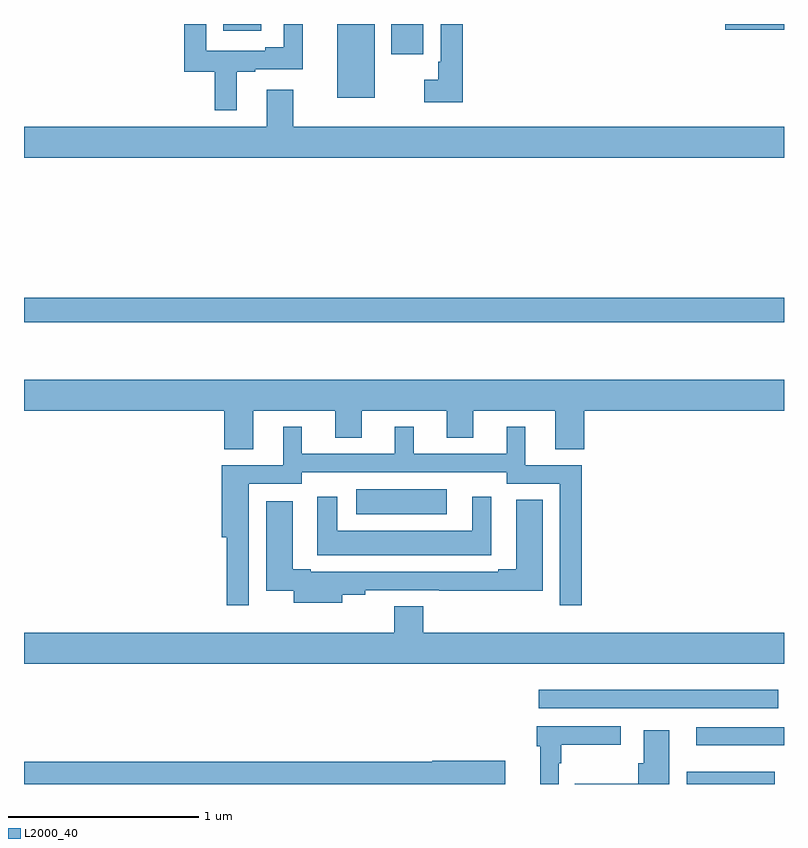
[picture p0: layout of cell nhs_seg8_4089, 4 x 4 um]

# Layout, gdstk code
import gdstk
lib = gdstk.Library(unit=1e-6, precision=1e-09)
def R(c, l, rs):  # rectangles x0, y0, x1, y1
    for r in rs: c.add(gdstk.rectangle(r[:2], r[2:], *l))
def P(c, l, *ps):  # polygons
    for p in ps: c.add(gdstk.Polygon(p, *l))
L2000_40 = (2000, 40)

nhs_seg8_4089 = lib.new_cell('nhs_seg8_4089')
R(nhs_seg8_4089, L2000_40, [(366.488,1083.9,366.952,1083.964), (366.537,1084.103,367,1084.2), (365.709,1084.299,366.97,1084.396), (364.749,1085.321,365.224,1085.452), (363,1086.33,367,1086.458), (364.649,1087.511,364.846,1087.9), (364.934,1087.74,365.101,1087.9), (364.049,1087.865,364.249,1087.9), (366.69,1087.871,367,1087.9)])
P(nhs_seg8_4089, L2000_40, [(364.12,1087.65),(364.216,1087.65),(364.216,1087.662),(364.466,1087.662),(364.466,1087.9),(364.368,1087.9),(364.368,1087.778),(364.271,1087.778),(364.271,1087.758),(363.96,1087.758),(363.96,1087.9),(363.844,1087.9),(363.844,1087.65),(364.003,1087.65),(364.003,1087.445),(364.12,1087.445)],
  [(365.309,1087.9),(365.193,1087.9),(365.193,1087.702),(365.181,1087.702),(365.181,1087.606),(365.106,1087.606),(365.106,1087.487),(365.309,1087.487)],
  [(367,1087.36),(364.417,1087.36),(364.417,1087.555),(364.277,1087.555),(364.277,1087.36),(363,1087.36),(363,1087.196),(367,1087.196)],
  [(363,1085.864),(364.055,1085.864),(364.055,1085.662),(364.207,1085.662),(364.207,1085.864),(364.637,1085.864),(364.637,1085.722),(364.777,1085.722),(364.777,1085.864),(365.225,1085.864),(365.225,1085.722),(365.365,1085.722),(365.365,1085.864),(365.795,1085.864),(365.795,1085.662),(365.948,1085.662),(365.948,1085.864),(367,1085.864),(367,1086.028),(363,1086.028)],
  [(364.182,1085.481),(364.461,1085.481),(364.461,1085.541),(365.541,1085.541),(365.541,1085.481),(365.82,1085.481),(365.82,1084.842),(365.936,1084.842),(365.936,1085.577),(365.638,1085.577),(365.638,1085.779),(365.54,1085.779),(365.54,1085.637),(365.05,1085.637),(365.05,1085.779),(364.952,1085.779),(364.952,1085.637),(364.462,1085.637),(364.462,1085.779),(364.364,1085.779),(364.364,1085.577),(364.04,1085.577),(364.04,1085.198),(364.066,1085.198),(364.066,1084.842),(364.182,1084.842)],
  [(365.458,1085.413),(365.36,1085.413),(365.36,1085.233),(364.648,1085.233),(364.648,1085.413),(364.544,1085.413),(364.544,1085.105),(365.458,1085.105)],
  [(364.675,1084.895),(364.797,1084.895),(364.797,1084.92),(365.185,1084.92),(365.185,1084.918),(365.731,1084.918),(365.731,1085.395),(365.591,1085.395),(365.591,1085.029),(365.495,1085.029),(365.495,1085.016),(364.51,1085.016),(364.51,1085.029),(364.414,1085.029),(364.414,1085.389),(364.274,1085.389),(364.274,1084.918),(364.421,1084.918),(364.421,1084.853),(364.675,1084.853)],
  [(367,1084.696),(365.102,1084.696),(365.102,1084.835),(364.949,1084.835),(364.949,1084.696),(363,1084.696),(363,1084.532),(367,1084.532)],
  [(365.814,1084.01),(365.827,1084.01),(365.827,1084.106),(366.142,1084.106),(366.142,1084.203),(365.698,1084.203),(365.698,1084.1),(365.717,1084.1),(365.717,1083.9),(365.814,1083.9)],
  [(366.397,1084.183),(366.263,1084.183),(366.263,1084.009),(366.233,1084.009),(366.233,1083.902),(365.899,1083.902),(365.899,1083.9),(366.397,1083.9)],
  [(365.533,1084.022),(365.148,1084.022),(365.148,1084.016),(363,1084.016),(363,1083.9),(365.533,1083.9)])

lib.write_gds('nhs_seg8_4089.gds')
